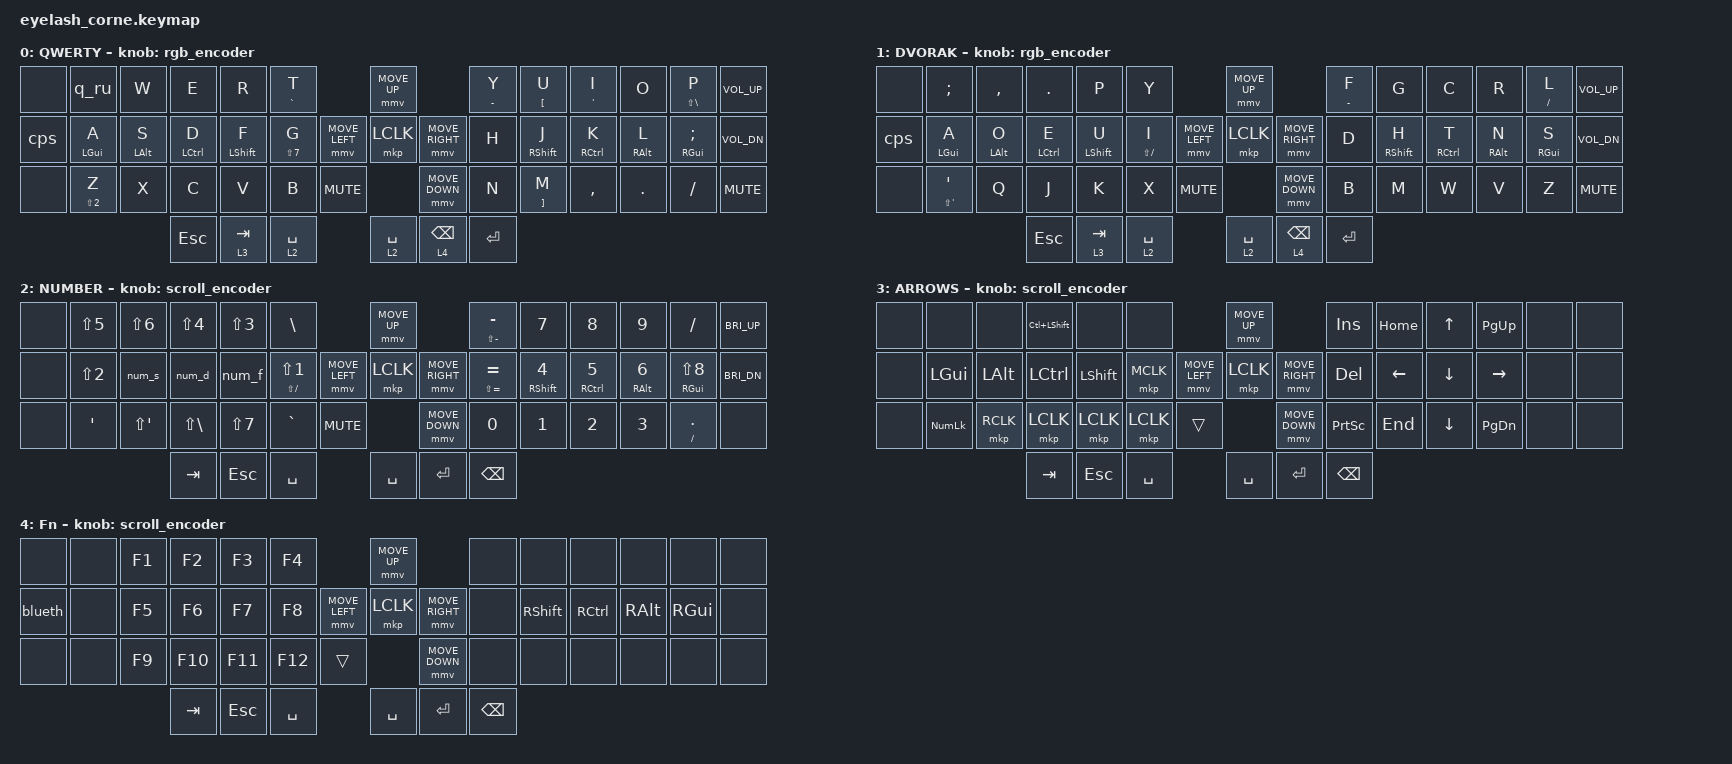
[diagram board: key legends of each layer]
#define ZMK_POINTING_DEFAULT_MOVE_VAL 1200  // 600
#define ZMK_POINTING_DEFAULT_SCRL_VAL 25   // 10

#include <input/processors.dtsi>
#include <zephyr/dt-bindings/input/input-event-codes.h>
#include <behaviors.dtsi>
#include <dt-bindings/zmk/bt.h>
#include <dt-bindings/zmk/keys.h>
#include <dt-bindings/zmk/modifiers.h>
#include <dt-bindings/zmk/outputs.h>
#include <dt-bindings/zmk/pointing.h>
#include <dt-bindings/zmk/rgb.h>

&mmv_input_listener { input-processors = <&zip_xy_scaler 2 1>; };

&msc_input_listener { input-processors = <&zip_scroll_scaler 2 1>; };

&msc {
    acceleration-exponent = <1>;      // 0
    time-to-max-speed-ms = <100>;       // 300
    delay-ms = <0>;                   // 0
};

&mmv {
    time-to-max-speed-ms = <500>;
    acceleration-exponent = <1>;
    trigger-period-ms = <16>;
};

&mt {
    tapping-term-ms = <185>;
};


&soft_off { 
    hold-time-ms = <2000>; 
};

/ {
    macros {
        lang_ru: lang_ru {
            compatible = "zmk,behavior-macro";
            #binding-cells = <0>;
            bindings
                = <&kp CAPS>
                , <&kp CAPS>
                , <&to 0>
                ;
        };
        lang_dvp: lang_dvp {
            compatible = "zmk,behavior-macro";
            #binding-cells = <0>;
            bindings
                = <&kp CAPS>
                , <&to 1>
                ;
        };
        lang_en: lang_en {
            compatible = "zmk,behavior-macro";
            #binding-cells = <0>;
            bindings
                = <&kp CAPS>
                , <&to 0>
                ;
        };
    };

    behaviors {
        hml: home_row_mod_left {
            compatible = "zmk,behavior-hold-tap";
            #binding-cells = <2>;
            flavor = "balanced";
            require-prior-idle-ms = <125>;
            tapping-term-ms = <280>;
            quick-tap-ms = <175>;
            bindings = <&kp>, <&kp>;
            hold-trigger-key-positions = < 
		 7  8  9 10 11 12 13
		21 22 23 24 25 26 27
		35 36 37 38 39 40 41
		45 46 47
            >; // List of keys on the right side of the keyboard
            hold-trigger-on-release;
        };
        hmr: home_row_mod_right {
            compatible = "zmk,behavior-hold-tap";
            #binding-cells = <2>;
            flavor = "balanced";
            require-prior-idle-ms = <125>;
            tapping-term-ms = <280>;
            quick-tap-ms = <175>;
            bindings = <&kp>, <&kp>;
            hold-trigger-key-positions = <
		 0  1  2  3  4  5  6
		14 15 16 17 18 19 20
		28 29 30 31 32 33 34
		42 43 44
            >; // List of keys on the left side of the keyboard
            hold-trigger-on-release;
        };
        cps: cps {
            compatible = "zmk,behavior-tap-dance";
            display-name = "Shift/Caps Lock Tap Dance";
            #binding-cells = <0>;
            bindings = <&lang_dvp>, <&lang_ru>, <&lang_en>;
        };
        q_ru: tap_dance_mod_tap {
            compatible = "zmk,behavior-tap-dance";
            #binding-cells = <0>;
            tapping-term-ms = <185>;
            bindings = <&mt LS(N4) Q>, <&kp LS(N6)>;
        };
        blueth: blueth {
            compatible = "zmk,behavior-tap-dance";
            #binding-cells = <0>;
            tapping-term-ms = <200>;
            bindings = <&bt BT_SEL 0>, <&bt BT_SEL 1>, <&bt BT_SEL 2>;
        };
        num_s: num_s {
            compatible = "zmk,behavior-tap-dance";
            #binding-cells = <0>;
            tapping-term-ms = <185>;
            bindings = <&mt LALT LBKT>, <&kp RBKT>;
        };
        num_d: num_d {
            compatible = "zmk,behavior-tap-dance";
            #binding-cells = <0>;
            tapping-term-ms = <185>;
            bindings = <&mt LCTRL LS(LBKT)>, <&kp LS(RBKT)>;
        };
        num_f: num_f {
            compatible = "zmk,behavior-tap-dance";
            #binding-cells = <0>;
            tapping-term-ms = <185>;
            bindings = <&mt LSHIFT LS(N9)>, <&kp LS(N0)>;
        };
    };

    rgb_encoder: rgb_encoder {
        compatible = "zmk,behavior-sensor-rotate";
        #sensor-binding-cells = <0>;
        bindings = <&rgb_ug RGB_BRI>, <&rgb_ug RGB_BRD>;
    };

    scroll_encoder: scroll_encoder {
        compatible = "zmk,behavior-sensor-rotate";
        #sensor-binding-cells = <0>;
        bindings = <&msc SCRL_DOWN>, <&msc SCRL_UP>;

        tap-ms = <100>;
    };

    combos {
        compatible = "zmk,combos";

        softoff {
            bindings = <&soft_off>;
            key-positions = <1 15 29>;
        };
        bthclr {
            bindings = <&bt BT_CLR>;
            key-positions = <14 44  45 27>;
        };
    };

    keymap {
        compatible = "zmk,keymap";

        qwerty_layer {
            display-name = "QWERTY";
	    // 0 14 28 42 
            bindings = <
&none  &q_ru        &kp W       &kp E        &kp R         &mt GRAVE T                   &mmv MOVE_UP                &mt MINUS Y &mt LBKT U    &mt SINGLE_QUOTE I &kp O       &mt LS(BSLH) P &kp C_VOL_UP
&cps   &hml LGUI A  &hml LALT S &hml LCTRL D &hml LSHIFT F &mt LS(N7) G    &mmv MOVE_LEFT &mkp LCLK &mmv MOVE_RIGHT  &kp H       &hmr RSHIFT J &hmr RCTRL K       &hmr RALT L &hmr RGUI SEMI &kp C_VOL_DN
&none  &mt LS(N2) Z  &kp X       &kp C        &kp V  	   &kp B     &kp C_MUTE         &mmv MOVE_DOWN               &kp N       &mt RBKT M    &kp COMMA          &kp DOT     &kp FSLH       &kp C_MUTE

                             &kp ESC &lt 3 TAB  &lt 2 SPACE                            &lt 2 SPACE &lt 4 BSPC  &kp ENTER
            >;

            sensor-bindings = <&rgb_encoder>;
        };

        dvorak_layer {
            display-name = "DVORAK";
	    // 0 14 28 42 
            bindings = <
&none  &kp SEMI     &kp COMMA    &kp DOT        &kp P         &kp Y                           &mmv MOVE_UP                &mt MINUS F &kp G         &kp C        &kp R       &mt FSLH L  &kp C_VOL_UP
&cps   &hml LGUI A  &hml LALT O  &hml LCTRL E  &hml LSHIFT U  &mt LS(FSLH) I    &mmv MOVE_LEFT &mkp LCLK &mmv MOVE_RIGHT  &kp D       &hmr RSHIFT H &hmr RCTRL T &hmr RALT N &hmr RGUI S &kp C_VOL_DN
&none  &mt LS(SINGLE_QUOTE) SINGLE_QUOTE &kp Q &kp J &kp K    &kp X    &kp C_MUTE            &mmv MOVE_DOWN               &kp B       &kp M         &kp W        &kp V       &kp Z       &kp C_MUTE

                             &kp ESC &lt 3 TAB  &lt 2 SPACE                            &lt 2 SPACE &lt 4 BSPC  &kp ENTER
            >;

            sensor-bindings = <&rgb_encoder>;
        };

        number_layer {
            display-name = "NUMBER";
            bindings = <
&none  &kp LS(N5)       &kp LS(N6)     	     &kp LS(N4)   &kp LS(N3)   &kp BSLH                          &mmv MOVE_UP                &mt LS(MINUS) MINUS &kp N7         &kp N8        &kp N9       &kp FSLH         &kp C_BRI_UP
&none  &kp LS(N2)       &num_s               &num_d       &num_f       &mt LS(FSLH) LS(N1)  &mmv MOVE_LEFT &mkp LCLK &mmv MOVE_RIGHT &mt LS(EQUAL) EQUAL &hmr RSHIFT N4 &hmr RCTRL N5 &hmr RALT N6 &hmr RGUI LS(N8) &kp C_BRI_DN
&none  &kp SINGLE_QUOTE &kp LS(SINGLE_QUOTE) &kp LS(BSLH) &kp LS(N7)   &kp GRAVE         &kp C_MUTE     &mmv MOVE_DOWN               &kp N0              &kp N1         &kp N2        &kp N3       &mt FSLH DOT     &none

                             &kp TAB &kp ESC &kp SPC                            &kp SPACE &kp ENTER &kp BSPC  
            >;

            sensor-bindings = <&scroll_encoder>;
        };

        arrow_layer {
            display-name = "ARROWS";
            bindings = <
&none  &none       &none    &kp LC(LSHIFT) &none      &none                   &mmv MOVE_UP                &kp INS   &kp HOME &kp UP   &kp PG_UP  &none  &none
&none  &kp LGUI    &kp LALT &kp LCTRL     &kp LSHIFT &mkp MCLK  &mmv MOVE_LEFT &mkp LCLK &mmv MOVE_RIGHT  &kp DEL   &kp LEFT &kp DOWN &kp RIGHT  &none  &none
&none  &kp KP_NLCK &mkp RCLK &mkp LCLK      &mkp LCLK   &mkp LCLK    &trans     &mmv MOVE_DOWN               &kp PSCRN &kp END  &kp DOWN &kp PG_DN  &none  &none

                             &kp TAB &kp ESC &kp SPC                            &kp SPACE &kp ENTER &kp BSPC  
            >;

            sensor-bindings = <&scroll_encoder>;
        };

        fn_layer {
            display-name = "Fn";
            bindings = <
&none  &none &kp F1 &kp F2  &kp F3  &kp F4                 &mmv MOVE_UP                &none  &none   &none  &none  &none  &none
&blueth  &none &kp F5 &kp F6  &kp F7  &kp F8   &mmv MOVE_LEFT &mkp LCLK &mmv MOVE_RIGHT  &none  &kp RSHIFT  &kp RCTRL  &kp RALT   &kp RGUI   &none
&none  &none &kp F9 &kp F10 &kp F11 &kp F12    &trans     &mmv MOVE_DOWN               &none  &none   &none   &none  &none  &none

                             &kp TAB &kp ESC &kp SPC                            &kp SPACE &kp ENTER &kp BSPC  
            >;

            sensor-bindings = <&scroll_encoder>;
        };
    };
};
